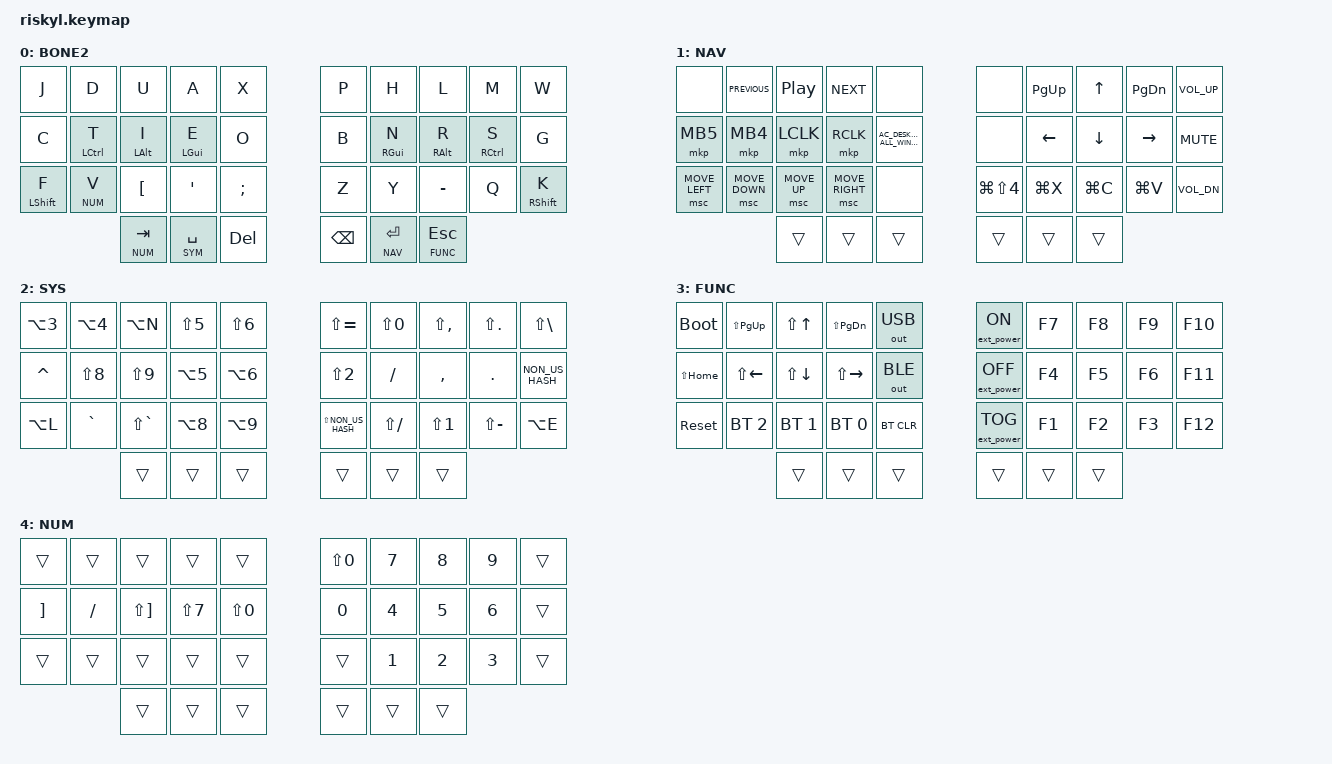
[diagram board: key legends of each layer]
#include <behaviors.dtsi>
#include <dt-bindings/zmk/bt.h>
#include <dt-bindings/zmk/keys.h>
#include <dt-bindings/zmk/outputs.h> 
#include <dt-bindings/zmk/ext_power.h>

#define ZMK_MOUSE_DEFAULT_SCRL_VAL 20    // 10
#include <dt-bindings/zmk/mouse.h>

#define DEFAULT 0
#define NAV     1
#define SYM     2
#define FUNC    3
#define NUM     4


&caps_word { continue-list = <UNDERSCORE MINUS>; };
&mmv {
    acceleration-exponent = <1>;      // 1
    time-to-max-speed-ms = <500>;     // 300
    delay-ms = <0>;                   // 0
};
&msc {
    acceleration-exponent = <1>;      // 0
    time-to-max-speed-ms = <500>;      // 300
    delay-ms = <0>;                   // 0
};

/ {
    combos {
        compatible = "zmk,combos";

        delete {
            timeout-ms = <50>;
            key-positions = <21 22>;
            bindings = <&kp DEL>;
        };
        bacsspace {
            timeout-ms = <50>;
            key-positions = <27 28>;
            bindings = <&kp BACKSPACE>;
        };

        navig {
            bindings = <&to 1>;
        key-positions = <10 34>;
        };
        navig2 {
            bindings = <&to 1>;
            key-positions = <19 34>;
        };
        default-layer {
            bindings = <&to 0>;
            key-positions = <10 32>;
        };
        default-layer2 {
            bindings = <&to 0>;
            key-positions = <19 32>;
        };
        system_layer {
            bindings = <&to 2>;
            key-positions = <10 31>;
        };
        system_layer2 {
            bindings = <&to 2>;
            key-positions = <19 31>;
        };
        function_layer {
            bindings = <&to 3>;
            key-positions = <10 35>;
        };
        function_layer2 {
            bindings = <&to 3>;
            key-positions = <19 35>;
        };
        num_layer {
            bindings = <&to 3>;
            key-positions = <10 30>;
        };
        num_layer2 {
            bindings = <&to 3>;
            key-positions = <19 30>;
        };

    };
};

/ {
    behaviors {
        hm: homerow_mods {
            compatible = "zmk,behavior-hold-tap";
            #binding-cells = <2>;
            tapping-term-ms = <200>;
            flavor = "tap-preferred";
            bindings = <&kp>, <&kp>;
        };

        hs: homerow_shift {
            compatible = "zmk,behavior-hold-tap";
            #binding-cells = <2>;
            tapping-term-ms = <175>;
            flavor = "balanced";
            bindings = <&kp>, <&kp>;
        };

        
    };

    keymap {
        compatible = "zmk,keymap";

        default_layer {
            display-name = "BONE2";
            bindings = <
&kp J         &kp D        &kp U       &kp A        &kp X      &kp P         &kp H        &kp L          &kp M        &kp W
&kp C    &hm LCTL T  &hm LALT I  &hs LGUI E      &kp O               &kp B           &hs RGUI N      &hm RALT R    &hm RCTL S  &kp G
&hs LSHIFT F           &lt NUM V   &kp LBKT    &kp SQT         &kp SEMI            &kp Z           &kp Y           &kp MINUS     &kp Q       &hs RSHIFT K
                           &lt NUM TAB   &lt SYM SPACE  &kp DEL   &kp BACKSPACE   &lt NAV ENTER  &lt FUNC  ESCAPE
            >;
        };

        nav_layer {
            display-name = "NAV";
            bindings = <
&none   &kp C_PREVIOUS  &kp C_PLAY_PAUSE  &kp C_NEXT                         &none   &none           &kp PAGE_UP     &kp UP_ARROW    &kp PAGE_DOWN  &kp C_VOLUME_UP
&mkp MB5  &mkp MB4  &mkp LCLK    &mkp RCLK             &kp C_AC_DESKTOP_SHOW_ALL_WINDOWS     &none           &kp LEFT_ARROW  &kp DOWN_ARROW  &kp RIGHT      &kp C_MUTE
&msc MOVE_LEFT  &msc MOVE_DOWN  &msc MOVE_UP    &msc MOVE_RIGHT                          &none   &kp LG(LS(N4))  &kp LG(X)       &kp LG(C)       &kp LG(V)      &kp C_VOL_DN
                        &trans            &trans                             &trans  &trans          &trans          &trans
            >;
        };
        sym_layer {
            display-name = "SYS";
            bindings = <
&kp LA(N3)  &kp LA(NUMBER_4)  &kp LA(N)         &kp LS(N5)  &kp LS(NUMBER_6)  &kp LS(EQUAL)        &kp LS(N0)     &kp LS(COMMA)     &kp LS(DOT)    &kp LS(BACKSLASH)
&kp CARET   &kp LS(N8)        &kp LS(N9)        &kp LA(N5)  &kp LA(NUMBER_6)  &kp LS(NUMBER_2)     &kp SLASH      &kp COMMA         &kp DOT        &kp NON_US_HASH
&kp LA(L)   &kp GRAVE         &kp LS(GRAVE)  &kp LA(N8)  &kp LA(N9)        &kp LS(NON_US_HASH)  &kp LS(SLASH)  &kp LS(NUMBER_1)  &kp LS(MINUS)  &kp LA(E)
                              &trans            &trans      &trans            &trans               &trans         &trans
            >;
        };

        func_layer {
            display-name = "FUNC";
            bindings = <
&bootloader   &kp LS(PG_UP)  &kp LS(UP)    &kp LS(PG_DN)  &out OUT_USB  &ext_power EP_ON        &kp F7  &kp F8     &kp F9  &kp F10
&kp LS(HOME)  &kp LS(LEFT)   &kp LS(DOWN)  &kp LS(RIGHT)  &out OUT_BLE   &ext_power EP_OFF      &kp F4  &kp F5     &kp F6  &kp F11
&sys_reset  &bt BT_SEL 2     &bt BT_SEL 1  &bt BT_SEL 0   &bt BT_CLR    &ext_power EP_TOG     &kp F1  &kp F2     &kp F3  &kp F12
                             &trans        &trans         &trans        &trans           &trans     &trans
            >;
        };

        num_layer {
            display-name = "NUM";
            bindings = <
&trans             &trans     &trans                 &trans      &trans      &kp LS(N0)  &kp N7  &kp N8  &kp N9  &trans
&kp RIGHT_BRACKET  &kp SLASH  &kp LS(RIGHT_BRACKET)  &kp LS(N7)  &kp LS(N0)  &kp N0      &kp N4  &kp N5  &kp N6  &trans
&trans             &trans     &trans                 &trans      &trans     &trans      &kp N1  &kp N2  &kp N3  &trans
                              &trans                 &trans      &trans      &trans      &trans  &trans
            >;
        };
    };
};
